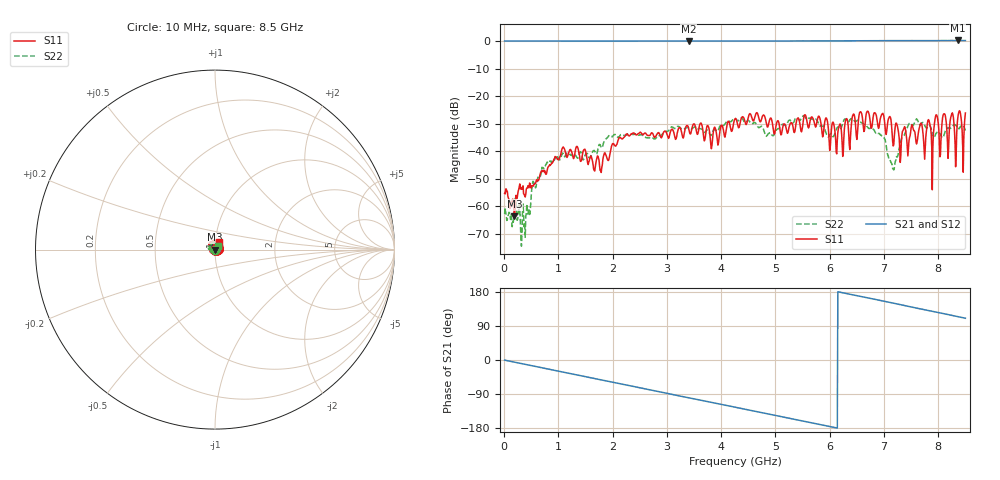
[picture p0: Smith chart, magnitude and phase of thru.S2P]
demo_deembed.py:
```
"""
Mini-Circuits Vayyar UVNA-63 demo script "demo_deembed.py"
Description: Takes a two port measurement applying adapter deembedding
"""
import numpy as np
from vnakit_ex import getSettingsStr, loadGammaListed
from vnakit_ex.hidden import readSnP, prompt2PortSOLT, get12TermModel, deEmbed, \
                            measure2Port, ab2S, correct12Term, plotCompareDb, \
                            userMsg

import vnakit

def main():
    print('\n------------ DEMO: Mini-Circuits Vayyar VNA kit ------------\n')
    print(  '---------------------- De-Embedding ------------------------\n')
    print(  '--------- Press Enter to continue. Type q to exit. ---------\n')
    # VNA kit port mapping
    ports = {'Tx1':6,'Rx1A':5,'Rx1B':4,'Tx2':3,'Rx2A':2,'Rx2B':1}
    # intializes the board object
    vnakit.Init()
    # VNA Kit settings
    settings = vnakit.RecordingSettings(
        vnakit.FrequencyRange(100, 6000, 236), # fmin,fmax,num_points
        1, # RBW (in KHz)
        -10, # output power (dbM)
        ports['Tx1'], # transmitter port
        vnakit.VNAKIT_MODE_TWO_PORTS
    )
    vnakit.ApplySettings(settings)
    # actual frequency vector used by the board
    freq_vec = np.array(vnakit.GetFreqVector_MHz())
    print('The board is initialized with settings:\n')
    settings_str = getSettingsStr(settings)
    print(settings_str)
    print('2-Port Calibration:')
    sol_stds = ['stds/open.S1P','stds/short.S1P','stds/load.S1P']
    Gamma_listed = loadGammaListed(sol_stds,freq_vec*1e6)
    Thru_listed = readSnP('stds/thru.S2P',freq_desired=freq_vec*1e6)
    (Gamma_meas1,Gamma_meas2,Thru_meas) = \
        prompt2PortSOLT(vnakit,settings,ports,isolation=False)
    print('Constructing 12-Term Error Model..')
    (fwd_terms,rev_terms) = get12TermModel(Gamma_listed,Gamma_meas1,
        Gamma_listed,Gamma_meas2,Thru_listed,Thru_meas)
    # calibration is now complete (by having obtained the error terms)
    # now measure the adapter(s) to be de-embedded
    S_adapter=[[],[]]
    N=1
    while(1):
        if N==1 or (N==2 and type(S_adapter[0])==np.ndarray):
            x=userMsg('>> Measure Port-'+str(N)+' adapter? (y/n):')
        else:
            x = 'Y'
            userMsg('>> Measure Port-2 adapter')
        if x.upper() in ['Y']:
            print('Recording...',end='')
            (rec_tx1,rec_tx2) = measure2Port(vnakit,settings,ports)
            print('Done.\n')
            S_adapter_meas = ab2S(rec_tx1,rec_tx2,ports)
            S_adapter[N-1] = correct12Term(S_adapter_meas,fwd_terms,rev_terms)
            N=N+1
        elif x.upper() in ['N']:
            S_adapter[N-1] = []
            N=N+1
        else:
            print('Invalid option. Respond y or n')
            continue
        if N>2:
            break
        # we have measured the adapter to be removed from the measurement
        # now enter a loop that takes a measurement and plots the results
    while(1):
        userMsg('>> Measure DUT:')
        print('Recording...',end='')
        (rec_tx1,rec_tx2) = measure2Port(vnakit,settings,ports)
        print('Done.\n')
        S_adapter_dut_meas = ab2S(rec_tx1,rec_tx2,ports)
        print('Applying 12-Term Model Correction...')
        S_adapter_dut = correct12Term(S_adapter_dut_meas,fwd_terms,rev_terms)
        print('De-embedding adapters...')
        S_dut = deEmbed(S_adapter_dut,S_adapter[0],S_adapter[1])
        print('Plotting...')
        plotCompareDb(freq_vec,[S_adapter_dut_meas,S_adapter_dut,S_dut],
            ['Uncorrected adapter-DUT device','Corrected adapter-DUT device','Corrected DUT'])

if __name__ == '__main__':
    main()
```
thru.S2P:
!Agilent Technologies,N3383A,US41480161,A.04.87.01
!Agilent N3383A: A.04.87.01
!Date: Monday, September 24, 2018 16:44:19
!Correction: S11(Full 2 Port SOLT,1,2) S21(Full 2 Port SOLT,1,2) S12(Full 2 Port SOLT,1,2) S22(Full 2 Port SOLT,1,2)
!S2P File: Measurements: S11, S21, S12, S22:
!Part No: SF-SF50+
!Part Description: SMA-F to SMA-F Adaptor
# Hz S  dB  R 50
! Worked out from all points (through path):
!   850 points, 10 MHz to 8.5 GHz, reference 50 ohm
!   highest |S21| = 0.20 dB at 8.36 GHz (marker M1); lowest = 0.0 dB at 3.4 GHz (marker M2)
!   group delay of S21, straight-line fit = 81.4 ps
!   lowest |S11| = -63.7 dB at 190 MHz (marker M3), VSWR 1.00, Z = 50 - j0.0583 ohm
!   |S11| at or under -10 dB: start of sweep to end of sweep
!   |S22| runs from -74.6 to -27.1 dB; largest |S21 - S12| = 0.0061
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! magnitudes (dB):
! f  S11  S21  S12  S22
! 10 MHz  -55.4  0.0  0.0  -62.9
! 190 MHz  -63.7  0.0  0.0  -63.7
! 350 MHz  -52.6  0.0  0.0  -59.2
! 950 MHz  -42.2  0.0  0.0  -42.3
! 3.4 GHz  -31.7  0.0  -0.1  -31.6
! 4.26 GHz  -28.2  0.0  0.0  -28.2
! 6.53 GHz  -28.6  0.1  0.0  -28.9
! 7.17 GHz  -38.1  0.1  0.1  -46.4
! 7.47 GHz  -35.1  0.2  0.1  -29.9
! 8.36 GHz  -27.9  0.2  0.2  -31.9
! 8.5 GHz  -26.2  0.2  0.1  -32.5
